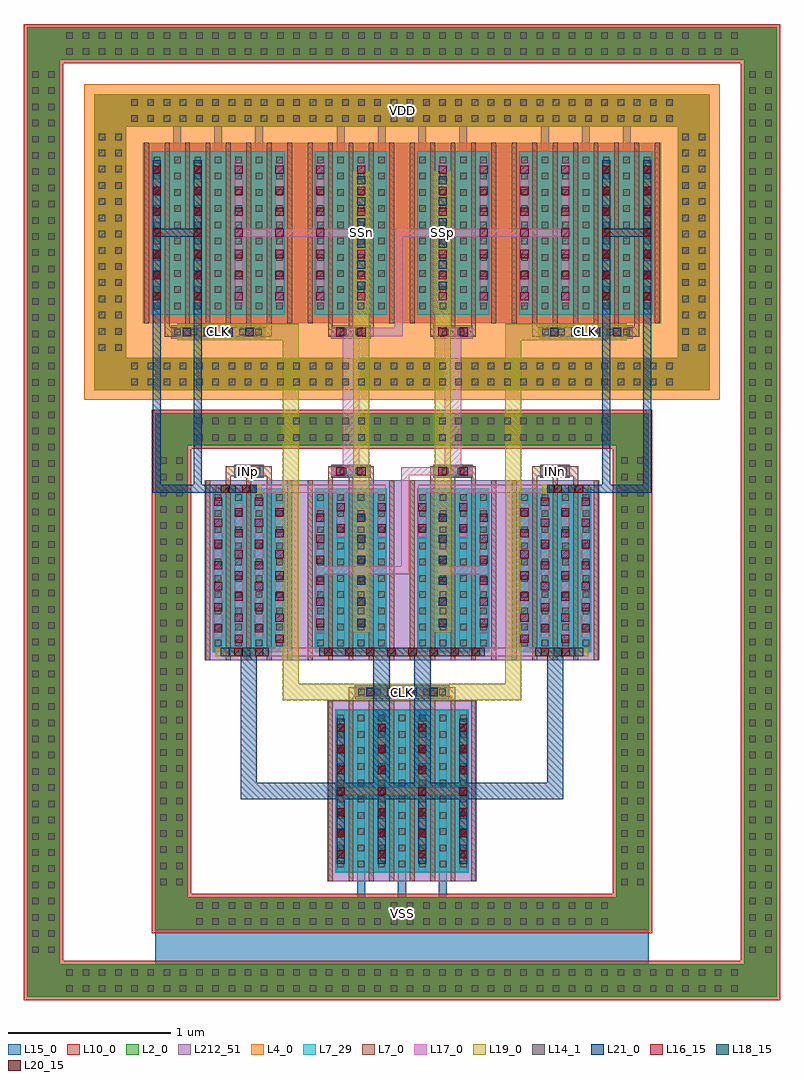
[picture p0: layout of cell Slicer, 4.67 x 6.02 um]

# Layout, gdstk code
import gdstk
lib = gdstk.Library(unit=1e-6, precision=1e-09)
def R(c, l, rs):  # rectangles x0, y0, x1, y1
    for r in rs: c.add(gdstk.rectangle(r[:2], r[2:], *l))
def A(c, l, x, y, w, h, nx, ny, dx, dy):  # array of equal rectangles
    R(c, l, [(x+i*dx, y+j*dy, x+i*dx+w, y+j*dy+h) for i in range(nx) for j in range(ny)])
L2_0 = (2, 0)
L4_0 = (4, 0)
L7_0 = (7, 0)
L7_29 = (7, 29)
L10_0 = (10, 0)
L14_1 = (14, 1)
L15_0 = (15, 0)
L16_15 = (16, 15)
L17_0 = (17, 0)
L18_15 = (18, 15)
L19_0 = (19, 0)
L20_15 = (20, 15)
L21_0 = (21, 0)
L212_51 = (212, 51)

viamet22met3onnmosinneri = lib.new_cell('ViaMet22Met3OnNMOSInnerInSlicer')
R(viamet22met3onnmosinneri, L17_0, [(-0.512,-0.025,0.512,0.025)])
A(viamet22met3onnmosinneri, L18_15, -0.48, -0.025, 0.05, 0.05, 8, 1, 0.13, 0)
R(viamet22met3onnmosinneri, L19_0, [(-0.512,-0.025,0.512,0.025)])

viamet22met3onnmosinputi = lib.new_cell('ViaMet22Met3OnNMOSInputInSlicer')
R(viamet22met3onnmosinputi, L17_0, [(-0.122,-0.025,0.122,0.025)])
R(viamet22met3onnmosinputi, L18_15, [(-0.09,-0.025,-0.04,0.025), (0.04,-0.025,0.09,0.025)])
R(viamet22met3onnmosinputi, L19_0, [(-0.122,-0.025,0.122,0.025)])

nmos1innmossetofslicer = lib.new_cell('NMOS1InNMOSSetofSlicer')
R(nmos1innmossetofslicer, L2_0, [(-0.217,-0.5,0.217,0.5)])
A(nmos1innmossetofslicer, L7_0, -0.267, -0.556, 0.03, 1.112, 5, 1, 0.126, 0)
R(nmos1innmossetofslicer, L7_29, [(-0.222,-0.505,0.222,0.505)])
A(nmos1innmossetofslicer, L14_1, -0.209, -0.47, 0.04, 0.04, 4, 10, 0.126, 0.1)
A(nmos1innmossetofslicer, L15_0, -0.214, -0.5, 0.05, 1, 4, 1, 0.126, 0)
R(nmos1innmossetofslicer, L212_51, [(-0.273,-0.556,0.273,0.556)])

nmos2innmossetofslicer = lib.new_cell('NMOS2InNMOSSetofSlicer')
R(nmos2innmossetofslicer, L2_0, [(-0.217,-0.5,0.217,0.5)])
A(nmos2innmossetofslicer, L7_0, -0.267, -0.556, 0.03, 1.112, 5, 1, 0.126, 0)
R(nmos2innmossetofslicer, L7_29, [(-0.222,-0.505,0.222,0.505)])
A(nmos2innmossetofslicer, L14_1, -0.209, -0.47, 0.04, 0.04, 4, 10, 0.126, 0.1)
A(nmos2innmossetofslicer, L15_0, -0.214, -0.5, 0.05, 1, 4, 1, 0.126, 0)
R(nmos2innmossetofslicer, L212_51, [(-0.273,-0.556,0.273,0.556)])

nmos3innmossetofslicer = lib.new_cell('NMOS3InNMOSSetofSlicer')
R(nmos3innmossetofslicer, L2_0, [(-0.217,-0.5,0.217,0.5)])
A(nmos3innmossetofslicer, L7_0, -0.267, -0.556, 0.03, 1.112, 5, 1, 0.126, 0)
R(nmos3innmossetofslicer, L7_29, [(-0.222,-0.505,0.222,0.505)])
A(nmos3innmossetofslicer, L14_1, -0.209, -0.47, 0.04, 0.04, 4, 10, 0.126, 0.1)
A(nmos3innmossetofslicer, L15_0, -0.214, -0.5, 0.05, 1, 4, 1, 0.126, 0)
R(nmos3innmossetofslicer, L212_51, [(-0.273,-0.556,0.273,0.556)])

nmos4innmossetofslicer = lib.new_cell('NMOS4InNMOSSetofSlicer')
R(nmos4innmossetofslicer, L2_0, [(-0.217,-0.5,0.217,0.5)])
A(nmos4innmossetofslicer, L7_0, -0.267, -0.556, 0.03, 1.112, 5, 1, 0.126, 0)
R(nmos4innmossetofslicer, L7_29, [(-0.222,-0.505,0.222,0.505)])
A(nmos4innmossetofslicer, L14_1, -0.209, -0.47, 0.04, 0.04, 4, 10, 0.126, 0.1)
A(nmos4innmossetofslicer, L15_0, -0.214, -0.5, 0.05, 1, 4, 1, 0.126, 0)
R(nmos4innmossetofslicer, L212_51, [(-0.273,-0.556,0.273,0.556)])

nmos5innmossetofslicer = lib.new_cell('NMOS5InNMOSSetofSlicer')
R(nmos5innmossetofslicer, L2_0, [(-0.406,-0.5,0.406,0.5)])
A(nmos5innmossetofslicer, L7_0, -0.456, -0.556, 0.03, 1.112, 8, 1, 0.126, 0)
R(nmos5innmossetofslicer, L7_29, [(-0.411,-0.505,0.411,0.505)])
A(nmos5innmossetofslicer, L14_1, -0.398, -0.47, 0.04, 0.04, 7, 10, 0.126, 0.1)
A(nmos5innmossetofslicer, L15_0, -0.403, -0.5, 0.05, 1, 7, 1, 0.126, 0)
R(nmos5innmossetofslicer, L212_51, [(-0.462,-0.556,0.462,0.556)])

viamet22met3onpmosoutput = lib.new_cell('ViaMet22Met3OnPMOSOutputIn5NMOSSetofSlicer')
R(viamet22met3onpmosoutput, L17_0, [(-0.025,-0.447,0.025,0.447)])
A(viamet22met3onpmosoutput, L18_15, -0.025, -0.415, 0.05, 0.05, 1, 7, 0, 0.13)
R(viamet22met3onpmosoutput, L19_0, [(-0.025,-0.447,0.025,0.447)])

viamet32met4onpmosoutput = lib.new_cell('ViaMet32Met4OnPMOSOutputIn5NMOSSetofSlicer')
R(viamet32met4onpmosoutput, L19_0, [(-0.025,-0.447,0.025,0.447)])
A(viamet32met4onpmosoutput, L20_15, -0.025, -0.415, 0.05, 0.05, 1, 7, 0, 0.13)
R(viamet32met4onpmosoutput, L21_0, [(-0.025,-0.447,0.025,0.447)])

additionalviamet12met2on = lib.new_cell('AdditionalViaMet12Met2OnPMOSOutputIn3NMOSSetofSlicer')
R(additionalviamet12met2on, L15_0, [(-0.025,-0.122,0.025,0.122)])
R(additionalviamet12met2on, L16_15, [(-0.025,-0.09,0.025,-0.04), (-0.025,0.04,0.025,0.09)])
R(additionalviamet12met2on, L17_0, [(-0.025,-0.122,0.025,0.122)])

viapoly2met1onnmosgate4i = lib.new_cell('ViaPoly2Met1OnNMOSGate4InNMOSSetofSlicer')
R(viapoly2met1onnmosgate4i, L7_0, [(-0.08,-0.03,0.08,0.03)])
R(viapoly2met1onnmosgate4i, L14_1, [(-0.07,-0.02,-0.03,0.02), (0.03,-0.02,0.07,0.02)])
R(viapoly2met1onnmosgate4i, L15_0, [(-0.091,-0.041,0.091,0.041)])

viapoly2met1onnmosgate5i = lib.new_cell('ViaPoly2Met1OnNMOSGate5InNMOSSetofSlicer')
R(viapoly2met1onnmosgate5i, L7_0, [(-0.28,-0.03,0.28,0.03)])
A(viapoly2met1onnmosgate5i, L14_1, -0.27, -0.02, 0.04, 0.04, 6, 1, 0.1, 0)
R(viapoly2met1onnmosgate5i, L15_0, [(-0.291,-0.041,0.291,0.041)])

viapoly2met1onnmosgate1i = lib.new_cell('ViaPoly2Met1OnNMOSGate1InNMOSSetofSlicer')
R(viapoly2met1onnmosgate1i, L7_0, [(-0.08,-0.03,0.08,0.03)])
R(viapoly2met1onnmosgate1i, L14_1, [(-0.07,-0.02,-0.03,0.02), (0.03,-0.02,0.07,0.02)])
R(viapoly2met1onnmosgate1i, L15_0, [(-0.091,-0.041,0.091,0.041)])

viapoly2met1onnmosgate2i = lib.new_cell('ViaPoly2Met1OnNMOSGate2InNMOSSetofSlicer')
R(viapoly2met1onnmosgate2i, L7_0, [(-0.08,-0.03,0.08,0.03)])
R(viapoly2met1onnmosgate2i, L14_1, [(-0.07,-0.02,-0.03,0.02), (0.03,-0.02,0.07,0.02)])
R(viapoly2met1onnmosgate2i, L15_0, [(-0.091,-0.041,0.091,0.041)])

viapoly2met1onnmosgate3i = lib.new_cell('ViaPoly2Met1OnNMOSGate3InNMOSSetofSlicer')
R(viapoly2met1onnmosgate3i, L7_0, [(-0.08,-0.03,0.08,0.03)])
R(viapoly2met1onnmosgate3i, L14_1, [(-0.07,-0.02,-0.03,0.02), (0.03,-0.02,0.07,0.02)])
R(viapoly2met1onnmosgate3i, L15_0, [(-0.091,-0.041,0.091,0.041)])

viamet12met2onpmosoutput = lib.new_cell('ViaMet12Met2OnPMOSOutputIn3NMOSSetofSlicer')
R(viamet12met2onpmosoutput, L15_0, [(-0.025,-0.382,0.025,0.382)])
A(viamet12met2onpmosoutput, L16_15, -0.025, -0.35, 0.05, 0.05, 1, 6, 0, 0.13)
R(viamet12met2onpmosoutput, L17_0, [(-0.025,-0.382,0.025,0.382)])

c_viamet12met2onpmosoutput = lib.new_cell('ViaMet12Met2OnPMOSOutputIn5NMOSSetofSlicer')
R(c_viamet12met2onpmosoutput, L15_0, [(-0.025,-0.447,0.025,0.447)])
A(c_viamet12met2onpmosoutput, L16_15, -0.025, -0.415, 0.05, 0.05, 1, 7, 0, 0.13)
R(c_viamet12met2onpmosoutput, L17_0, [(-0.025,-0.447,0.025,0.447)])

c_viamet12met2onpmosoutput_ = lib.new_cell('ViaMet12Met2OnPMOSOutputIn1NMOSSetofSlicer')
R(c_viamet12met2onpmosoutput_, L15_0, [(-0.025,-0.447,0.025,0.447)])
A(c_viamet12met2onpmosoutput_, L16_15, -0.025, -0.415, 0.05, 0.05, 1, 7, 0, 0.13)
R(c_viamet12met2onpmosoutput_, L17_0, [(-0.025,-0.447,0.025,0.447)])

nmossetinslicer = lib.new_cell('NMOSSETInSlicer')
A(nmossetinslicer, L14_1, -1.27, -2.188, 0.04, 0.04, 26, 2, 0.1, 0.1)
A(nmossetinslicer, L14_1, -1.492, -1.944, 0.04, 0.04, 1, 27, 0, 0.1)
A(nmossetinslicer, L14_1, -1.392, -1.944, 0.04, 0.04, 1, 27, 0, 0.1)
A(nmossetinslicer, L14_1, 1.352, -1.944, 0.04, 0.04, 1, 27, 0, 0.1)
A(nmossetinslicer, L14_1, 1.452, -1.944, 0.04, 0.04, 1, 27, 0, 0.1)
A(nmossetinslicer, L14_1, -1.27, 0.8, 0.04, 0.04, 26, 2, 0.1, 0.1)
R(nmossetinslicer, L212_51, [(-0.945,-0.556,0.945,0.556)])
nmossetinslicer.add(gdstk.FlexPath([(1.422,0.97),(1.422,-2.218)], 0.2, ends="flush", simple_path=True, layer=15, datatype=0))  # L15_0
nmossetinslicer.add(gdstk.FlexPath([(-1.422,0.97),(-1.422,-2.218)], 0.2, ends="flush", simple_path=True, layer=15, datatype=0))  # L15_0
nmossetinslicer.add(gdstk.FlexPath([(-1.522,-2.118),(1.522,-2.118)], 0.2, ends="flush", simple_path=True, layer=15, datatype=0))  # L15_0
nmossetinslicer.add(gdstk.FlexPath([(-1.522,0.87),(1.522,0.87)], 0.2, ends="flush", simple_path=True, layer=15, datatype=0))  # L15_0
nmossetinslicer.add(gdstk.FlexPath([(-1.543,0.87),(1.543,0.87)], 0.242, ends="flush", simple_path=True, layer=10, datatype=0))  # L10_0
nmossetinslicer.add(gdstk.FlexPath([(1.422,0.991),(1.422,-2.239)], 0.242, ends="flush", simple_path=True, layer=10, datatype=0))  # L10_0
nmossetinslicer.add(gdstk.FlexPath([(-0.378,-1.362),(0.378,-1.362)], 0.05, ends="flush", simple_path=True, layer=21, datatype=0))  # L21_0
nmossetinslicer.add(gdstk.FlexPath([(-1.522,0.87),(1.522,0.87)], 0.2, ends="flush", simple_path=True, layer=2, datatype=0))  # L2_0
nmossetinslicer.add(gdstk.FlexPath([(-1.522,-2.118),(1.522,-2.118)], 0.2, ends="flush", simple_path=True, layer=2, datatype=0))  # L2_0
nmossetinslicer.add(gdstk.FlexPath([(-1.422,0.97),(-1.422,-2.218)], 0.2, ends="flush", simple_path=True, layer=2, datatype=0))  # L2_0
nmossetinslicer.add(gdstk.FlexPath([(1.422,0.97),(1.422,-2.218)], 0.2, ends="flush", simple_path=True, layer=2, datatype=0))  # L2_0
nmossetinslicer.add(gdstk.FlexPath([(-0.378,-1.362),(0.378,-1.362)], 0.05, ends="flush", simple_path=True, layer=19, datatype=0))  # L19_0
nmossetinslicer.add(gdstk.FlexPath([(-1.422,0.991),(-1.422,-2.239)], 0.242, ends="flush", simple_path=True, layer=10, datatype=0))  # L10_0
nmossetinslicer.add(gdstk.FlexPath([(-0.378,0.325),(-0.378,0.504)], 0.05, ends="flush", simple_path=True, layer=17, datatype=0))  # L17_0
nmossetinslicer.add(gdstk.FlexPath([(0.378,0.325),(0.378,0.504)], 0.05, ends="flush", simple_path=True, layer=17, datatype=0))  # L17_0
nmossetinslicer.add(gdstk.FlexPath([(-0.126,0.325),(-0.126,0.504)], 0.05, ends="flush", simple_path=True, layer=17, datatype=0))  # L17_0
nmossetinslicer.add(gdstk.FlexPath([(0.126,0.325),(0.126,0.504)], 0.05, ends="flush", simple_path=True, layer=17, datatype=0))  # L17_0
nmossetinslicer.add(gdstk.FlexPath([(-0.378,-1.362),(0.378,-1.362)], 0.05, ends="flush", simple_path=True, layer=17, datatype=0))  # L17_0
nmossetinslicer.add(gdstk.FlexPath([(-1.159,0.504),(-0.101,0.504)], 0.05, ends="flush", simple_path=True, layer=17, datatype=0))  # L17_0
nmossetinslicer.add(gdstk.FlexPath([(1.159,0.504),(0.101,0.504)], 0.05, ends="flush", simple_path=True, layer=17, datatype=0))  # L17_0
nmossetinslicer.add(gdstk.FlexPath([(-1.033,-0.504),(1.033,-0.504)], 0.05, ends="flush", simple_path=True, layer=17, datatype=0))  # L17_0
nmossetinslicer.add(gdstk.FlexPath([(-0.504,0),(-0.252,0)], 0.05, ends="flush", simple_path=True, layer=17, datatype=0))  # L17_0
nmossetinslicer.add(gdstk.FlexPath([(0.252,0),(0.504,0)], 0.05, ends="flush", simple_path=True, layer=17, datatype=0))  # L17_0
nmossetinslicer.add(gdstk.FlexPath([(-1.543,-2.118),(1.543,-2.118)], 0.242, ends="flush", simple_path=True, layer=10, datatype=0))  # L10_0
nmossetinslicer.add(gdstk.FlexPath([(-0.252,-2.118),(-0.252,-1.862)], 0.05, ends="flush", simple_path=True, layer=15, datatype=0))  # L15_0
nmossetinslicer.add(gdstk.FlexPath([(0,-2.118),(0,-1.862)], 0.05, ends="flush", simple_path=True, layer=15, datatype=0))  # L15_0
nmossetinslicer.add(gdstk.FlexPath([(0.252,-2.118),(0.252,-1.862)], 0.05, ends="flush", simple_path=True, layer=15, datatype=0))  # L15_0
nmossetinslicer.add(gdstk.FlexPath([(-0.315,-1.362),(-0.315,-0.751)], 0.03, ends="flush", simple_path=True, layer=7, datatype=0))  # L7_0
nmossetinslicer.add(gdstk.FlexPath([(-0.189,-1.362),(-0.189,-0.751)], 0.03, ends="flush", simple_path=True, layer=7, datatype=0))  # L7_0
nmossetinslicer.add(gdstk.FlexPath([(-0.063,-1.362),(-0.063,-0.751)], 0.03, ends="flush", simple_path=True, layer=7, datatype=0))  # L7_0
nmossetinslicer.add(gdstk.FlexPath([(0.063,-1.362),(0.063,-0.751)], 0.03, ends="flush", simple_path=True, layer=7, datatype=0))  # L7_0
nmossetinslicer.add(gdstk.FlexPath([(0.189,-1.362),(0.189,-0.751)], 0.03, ends="flush", simple_path=True, layer=7, datatype=0))  # L7_0
nmossetinslicer.add(gdstk.FlexPath([(0.315,-1.362),(0.315,-0.751)], 0.03, ends="flush", simple_path=True, layer=7, datatype=0))  # L7_0
nmossetinslicer.add(gdstk.FlexPath([(0.189,0),(0.189,0.611)], 0.03, ends="flush", simple_path=True, layer=7, datatype=0))  # L7_0
nmossetinslicer.add(gdstk.FlexPath([(0.315,0),(0.315,0.611)], 0.03, ends="flush", simple_path=True, layer=7, datatype=0))  # L7_0
nmossetinslicer.add(gdstk.FlexPath([(0.441,0),(0.441,0.611)], 0.03, ends="flush", simple_path=True, layer=7, datatype=0))  # L7_0
nmossetinslicer.add(gdstk.FlexPath([(-1.071,0),(-1.071,0.611)], 0.03, ends="flush", simple_path=True, layer=7, datatype=0))  # L7_0
nmossetinslicer.add(gdstk.FlexPath([(-0.945,0),(-0.945,0.611)], 0.03, ends="flush", simple_path=True, layer=7, datatype=0))  # L7_0
nmossetinslicer.add(gdstk.FlexPath([(-0.819,0),(-0.819,0.611)], 0.03, ends="flush", simple_path=True, layer=7, datatype=0))  # L7_0
nmossetinslicer.add(gdstk.FlexPath([(-0.441,0),(-0.441,0.611)], 0.03, ends="flush", simple_path=True, layer=7, datatype=0))  # L7_0
nmossetinslicer.add(gdstk.FlexPath([(-0.315,0),(-0.315,0.611)], 0.03, ends="flush", simple_path=True, layer=7, datatype=0))  # L7_0
nmossetinslicer.add(gdstk.FlexPath([(-0.189,0),(-0.189,0.611)], 0.03, ends="flush", simple_path=True, layer=7, datatype=0))  # L7_0
nmossetinslicer.add(gdstk.FlexPath([(0.819,0),(0.819,0.611)], 0.03, ends="flush", simple_path=True, layer=7, datatype=0))  # L7_0
nmossetinslicer.add(gdstk.FlexPath([(0.945,0),(0.945,0.611)], 0.03, ends="flush", simple_path=True, layer=7, datatype=0))  # L7_0
nmossetinslicer.add(gdstk.FlexPath([(1.071,0),(1.071,0.611)], 0.03, ends="flush", simple_path=True, layer=7, datatype=0))  # L7_0
nmossetinslicer.add(gdstk.FlexPath([(0.456,0.611),(0.174,0.611)], 0.06, ends="flush", simple_path=True, layer=7, datatype=0))  # L7_0
nmossetinslicer.add(gdstk.FlexPath([(0.33,-0.751),(-0.33,-0.751)], 0.06, ends="flush", simple_path=True, layer=7, datatype=0))  # L7_0
nmossetinslicer.add(gdstk.FlexPath([(1.086,0.611),(0.804,0.611)], 0.06, ends="flush", simple_path=True, layer=7, datatype=0))  # L7_0
nmossetinslicer.add(gdstk.FlexPath([(-0.174,0.611),(-0.456,0.611)], 0.06, ends="flush", simple_path=True, layer=7, datatype=0))  # L7_0
nmossetinslicer.add(gdstk.FlexPath([(-0.804,0.611),(-1.086,0.611)], 0.06, ends="flush", simple_path=True, layer=7, datatype=0))  # L7_0
nmossetinslicer.add(gdstk.Reference(nmos1innmossetofslicer, (-0.945,0)))
nmossetinslicer.add(gdstk.Reference(nmos2innmossetofslicer, (0.945,0)))
nmossetinslicer.add(gdstk.Reference(nmos3innmossetofslicer, (-0.315,0)))
nmossetinslicer.add(gdstk.Reference(nmos4innmossetofslicer, (0.315,0)))
nmossetinslicer.add(gdstk.Reference(nmos5innmossetofslicer, (0,-1.362)))
nmossetinslicer.add(gdstk.Reference(viamet22met3onpmosoutput, (-0.378,-1.362)))
nmossetinslicer.add(gdstk.Reference(viamet22met3onpmosoutput, (-0.126,-1.362)))
nmossetinslicer.add(gdstk.Reference(viamet22met3onpmosoutput, (0.126,-1.362)))
nmossetinslicer.add(gdstk.Reference(viamet22met3onpmosoutput, (0.378,-1.362)))
nmossetinslicer.add(gdstk.Reference(viamet32met4onpmosoutput, (-0.378,-1.362)))
nmossetinslicer.add(gdstk.Reference(viamet32met4onpmosoutput, (-0.126,-1.362)))
nmossetinslicer.add(gdstk.Reference(viamet32met4onpmosoutput, (0.126,-1.362)))
nmossetinslicer.add(gdstk.Reference(viamet32met4onpmosoutput, (0.378,-1.362)))
nmossetinslicer.add(gdstk.Reference(additionalviamet12met2on, (-0.378,0.325)))
nmossetinslicer.add(gdstk.Reference(additionalviamet12met2on, (0.378,0.325)))
nmossetinslicer.add(gdstk.Reference(additionalviamet12met2on, (-0.126,0.325)))
nmossetinslicer.add(gdstk.Reference(additionalviamet12met2on, (0.126,0.325)))
nmossetinslicer.add(gdstk.Reference(viapoly2met1onnmosgate4i, (0.315,0.611)))
nmossetinslicer.add(gdstk.Reference(viapoly2met1onnmosgate5i, (0,-0.751)))
nmossetinslicer.add(gdstk.Reference(viapoly2met1onnmosgate1i, (-0.945,0.611)))
nmossetinslicer.add(gdstk.Reference(viapoly2met1onnmosgate2i, (0.945,0.611)))
nmossetinslicer.add(gdstk.Reference(viapoly2met1onnmosgate3i, (-0.315,0.611)))
nmossetinslicer.add(gdstk.Reference(viamet12met2onpmosoutput, (-0.504,0)))
nmossetinslicer.add(gdstk.Reference(viamet12met2onpmosoutput, (-0.252,0)))
nmossetinslicer.add(gdstk.Reference(viamet12met2onpmosoutput, (0.252,0)))
nmossetinslicer.add(gdstk.Reference(viamet12met2onpmosoutput, (0.504,0)))
nmossetinslicer.add(gdstk.Reference(c_viamet12met2onpmosoutput, (-0.378,-1.362)))
nmossetinslicer.add(gdstk.Reference(c_viamet12met2onpmosoutput, (-0.126,-1.362)))
nmossetinslicer.add(gdstk.Reference(c_viamet12met2onpmosoutput, (0.126,-1.362)))
nmossetinslicer.add(gdstk.Reference(c_viamet12met2onpmosoutput, (0.378,-1.362)))
nmossetinslicer.add(gdstk.Reference(c_viamet12met2onpmosoutput_, (-1.134,0.032)))
nmossetinslicer.add(gdstk.Reference(c_viamet12met2onpmosoutput_, (0.882,0.032)))
nmossetinslicer.add(gdstk.Reference(c_viamet12met2onpmosoutput_, (-0.882,0.032)))
nmossetinslicer.add(gdstk.Reference(c_viamet12met2onpmosoutput_, (1.134,0.032)))
nmossetinslicer.add(gdstk.Reference(c_viamet12met2onpmosoutput_, (-1.008,-0.032)))
nmossetinslicer.add(gdstk.Reference(c_viamet12met2onpmosoutput_, (0.756,-0.032)))
nmossetinslicer.add(gdstk.Reference(c_viamet12met2onpmosoutput_, (-0.756,-0.032)))
nmossetinslicer.add(gdstk.Reference(c_viamet12met2onpmosoutput_, (1.008,-0.032)))

viamet32met4onnmosinneri = lib.new_cell('ViaMet32Met4OnNMOSInnerInSlicer')
R(viamet32met4onnmosinneri, L19_0, [(-0.512,-0.025,0.512,0.025)])
A(viamet32met4onnmosinneri, L20_15, -0.48, -0.025, 0.05, 0.05, 8, 1, 0.13, 0)
R(viamet32met4onnmosinneri, L21_0, [(-0.512,-0.025,0.512,0.025)])

viapoly2met1onpmosgate1i = lib.new_cell('ViaPoly2Met1OnPMOSGate1InPMOSSetofSlicer')
R(viapoly2met1onpmosgate1i, L7_0, [(-0.28,-0.03,0.28,0.03)])
A(viapoly2met1onpmosgate1i, L14_1, -0.27, -0.02, 0.04, 0.04, 6, 1, 0.1, 0)
R(viapoly2met1onpmosgate1i, L15_0, [(-0.291,-0.041,0.291,0.041)])

viapoly2met1onpmosgate2i = lib.new_cell('ViaPoly2Met1OnPMOSGate2InPMOSSetofSlicer')
R(viapoly2met1onpmosgate2i, L7_0, [(-0.28,-0.03,0.28,0.03)])
A(viapoly2met1onpmosgate2i, L14_1, -0.27, -0.02, 0.04, 0.04, 6, 1, 0.1, 0)
R(viapoly2met1onpmosgate2i, L15_0, [(-0.291,-0.041,0.291,0.041)])

viapoly2met1onpmosgate3i = lib.new_cell('ViaPoly2Met1OnPMOSGate3InPMOSSetofSlicer')
R(viapoly2met1onpmosgate3i, L7_0, [(-0.08,-0.03,0.08,0.03)])
R(viapoly2met1onpmosgate3i, L14_1, [(-0.07,-0.02,-0.03,0.02), (0.03,-0.02,0.07,0.02)])
R(viapoly2met1onpmosgate3i, L15_0, [(-0.091,-0.041,0.091,0.041)])

viapoly2met1onpmosgate4i = lib.new_cell('ViaPoly2Met1OnPMOSGate4InPMOSSetofSlicer')
R(viapoly2met1onpmosgate4i, L7_0, [(-0.08,-0.03,0.08,0.03)])
R(viapoly2met1onpmosgate4i, L14_1, [(-0.07,-0.02,-0.03,0.02), (0.03,-0.02,0.07,0.02)])
R(viapoly2met1onpmosgate4i, L15_0, [(-0.091,-0.041,0.091,0.041)])

c_viamet32met4onpmosoutput = lib.new_cell('ViaMet32Met4OnPMOSOutputIn1PMOSSetofSlicer')
R(c_viamet32met4onpmosoutput, L19_0, [(-0.025,-0.447,0.025,0.447)])
A(c_viamet32met4onpmosoutput, L20_15, -0.025, -0.415, 0.05, 0.05, 1, 7, 0, 0.13)
R(c_viamet32met4onpmosoutput, L21_0, [(-0.025,-0.447,0.025,0.447)])

c_viamet12met2onpmosoutput__ = lib.new_cell('ViaMet12Met2OnPMOSOutputIn2PMOSSetofSlicer')
R(c_viamet12met2onpmosoutput__, L15_0, [(-0.025,-0.447,0.025,0.447)])
A(c_viamet12met2onpmosoutput__, L16_15, -0.025, -0.415, 0.05, 0.05, 1, 7, 0, 0.13)
R(c_viamet12met2onpmosoutput__, L17_0, [(-0.025,-0.447,0.025,0.447)])

c_viamet12met2onpmosoutput___ = lib.new_cell('ViaMet12Met2OnPMOSOutputIn1PMOSSetofSlicer')
R(c_viamet12met2onpmosoutput___, L15_0, [(-0.025,-0.447,0.025,0.447)])
A(c_viamet12met2onpmosoutput___, L16_15, -0.025, -0.415, 0.05, 0.05, 1, 7, 0, 0.13)
R(c_viamet12met2onpmosoutput___, L17_0, [(-0.025,-0.447,0.025,0.447)])

pmos4inpmossetofslicer = lib.new_cell('PMOS4InPMOSSetofSlicer')
R(pmos4inpmossetofslicer, L2_0, [(-0.217,-0.5,0.217,0.5)])
A(pmos4inpmossetofslicer, L7_0, -0.267, -0.556, 0.03, 1.112, 5, 1, 0.126, 0)
R(pmos4inpmossetofslicer, L7_29, [(-0.222,-0.505,0.222,0.505)])
R(pmos4inpmossetofslicer, L10_0, [(-0.277,-0.556,0.277,0.556)])
A(pmos4inpmossetofslicer, L14_1, -0.209, -0.47, 0.04, 0.04, 4, 10, 0.126, 0.1)
A(pmos4inpmossetofslicer, L15_0, -0.214, -0.5, 0.05, 1, 4, 1, 0.126, 0)
R(pmos4inpmossetofslicer, L212_51, [(-0.273,-0.556,0.273,0.556)])

c_viamet22met3onpmosoutput = lib.new_cell('ViaMet22Met3OnPMOSOutputIn1PMOSSetofSlicer')
R(c_viamet22met3onpmosoutput, L17_0, [(-0.025,-0.447,0.025,0.447)])
A(c_viamet22met3onpmosoutput, L18_15, -0.025, -0.415, 0.05, 0.05, 1, 7, 0, 0.13)
R(c_viamet22met3onpmosoutput, L19_0, [(-0.025,-0.447,0.025,0.447)])

pmos2inpmossetofslicer = lib.new_cell('PMOS2InPMOSSetofSlicer')
R(pmos2inpmossetofslicer, L2_0, [(-0.406,-0.5,0.406,0.5)])
A(pmos2inpmossetofslicer, L7_0, -0.456, -0.556, 0.03, 1.112, 8, 1, 0.126, 0)
R(pmos2inpmossetofslicer, L7_29, [(-0.411,-0.505,0.411,0.505)])
R(pmos2inpmossetofslicer, L10_0, [(-0.466,-0.556,0.466,0.556)])
A(pmos2inpmossetofslicer, L14_1, -0.398, -0.47, 0.04, 0.04, 7, 10, 0.126, 0.1)
A(pmos2inpmossetofslicer, L15_0, -0.403, -0.5, 0.05, 1, 7, 1, 0.126, 0)
R(pmos2inpmossetofslicer, L212_51, [(-0.462,-0.556,0.462,0.556)])

pmos3inpmossetofslicer = lib.new_cell('PMOS3InPMOSSetofSlicer')
R(pmos3inpmossetofslicer, L2_0, [(-0.217,-0.5,0.217,0.5)])
A(pmos3inpmossetofslicer, L7_0, -0.267, -0.556, 0.03, 1.112, 5, 1, 0.126, 0)
R(pmos3inpmossetofslicer, L7_29, [(-0.222,-0.505,0.222,0.505)])
R(pmos3inpmossetofslicer, L10_0, [(-0.277,-0.556,0.277,0.556)])
A(pmos3inpmossetofslicer, L14_1, -0.209, -0.47, 0.04, 0.04, 4, 10, 0.126, 0.1)
A(pmos3inpmossetofslicer, L15_0, -0.214, -0.5, 0.05, 1, 4, 1, 0.126, 0)
R(pmos3inpmossetofslicer, L212_51, [(-0.273,-0.556,0.273,0.556)])

pmos1inpmossetofslicer = lib.new_cell('PMOS1InPMOSSetofSlicer')
R(pmos1inpmossetofslicer, L2_0, [(-0.406,-0.5,0.406,0.5)])
A(pmos1inpmossetofslicer, L7_0, -0.456, -0.556, 0.03, 1.112, 8, 1, 0.126, 0)
R(pmos1inpmossetofslicer, L7_29, [(-0.411,-0.505,0.411,0.505)])
R(pmos1inpmossetofslicer, L10_0, [(-0.466,-0.556,0.466,0.556)])
A(pmos1inpmossetofslicer, L14_1, -0.398, -0.47, 0.04, 0.04, 7, 10, 0.126, 0.1)
A(pmos1inpmossetofslicer, L15_0, -0.403, -0.5, 0.05, 1, 7, 1, 0.126, 0)
R(pmos1inpmossetofslicer, L212_51, [(-0.462,-0.556,0.462,0.556)])

pmossetinslicer = lib.new_cell('PMOSSETInSlicer')
R(pmossetinslicer, L4_0, [(-1.96,-1.03,1.96,0.916)])
R(pmossetinslicer, L10_0, [(-1.134,-0.556,1.134,0.556)])
A(pmossetinslicer, L14_1, -1.67, -0.94, 0.04, 0.04, 34, 2, 0.1, 0.1)
A(pmossetinslicer, L14_1, -1.87, -0.727, 0.04, 0.04, 1, 14, 0, 0.1)
A(pmossetinslicer, L14_1, -1.77, -0.727, 0.04, 0.04, 1, 14, 0, 0.1)
A(pmossetinslicer, L14_1, 1.73, -0.727, 0.04, 0.04, 1, 14, 0, 0.1)
A(pmossetinslicer, L14_1, 1.83, -0.727, 0.04, 0.04, 1, 14, 0, 0.1)
A(pmossetinslicer, L14_1, -1.67, 0.686, 0.04, 0.04, 34, 2, 0.1, 0.1)
R(pmossetinslicer, L212_51, [(-1.134,-0.556,1.134,0.556)])
pmossetinslicer.add(gdstk.FlexPath([(1.8,0.856),(1.8,-0.97)], 0.2, ends="flush", simple_path=True, layer=15, datatype=0))  # L15_0
pmossetinslicer.add(gdstk.FlexPath([(-1.8,0.856),(-1.8,-0.97)], 0.2, ends="flush", simple_path=True, layer=15, datatype=0))  # L15_0
pmossetinslicer.add(gdstk.FlexPath([(-1.9,-0.87),(1.9,-0.87)], 0.2, ends="flush", simple_path=True, layer=15, datatype=0))  # L15_0
pmossetinslicer.add(gdstk.FlexPath([(-1.9,0.756),(1.9,0.756)], 0.2, ends="flush", simple_path=True, layer=15, datatype=0))  # L15_0
pmossetinslicer.add(gdstk.FlexPath([(-0.804,-0.611),(-1.464,-0.611)], 0.06, ends="flush", simple_path=True, layer=7, datatype=0))  # L7_0
pmossetinslicer.add(gdstk.FlexPath([(1.464,-0.611),(0.804,-0.611)], 0.06, ends="flush", simple_path=True, layer=7, datatype=0))  # L7_0
pmossetinslicer.add(gdstk.FlexPath([(-0.174,-0.611),(-0.456,-0.611)], 0.06, ends="flush", simple_path=True, layer=7, datatype=0))  # L7_0
pmossetinslicer.add(gdstk.FlexPath([(0.456,-0.611),(0.174,-0.611)], 0.06, ends="flush", simple_path=True, layer=7, datatype=0))  # L7_0
pmossetinslicer.add(gdstk.FlexPath([(-1.8,0.856),(-1.8,-0.97)], 0.2, ends="flush", simple_path=True, layer=2, datatype=0))  # L2_0
pmossetinslicer.add(gdstk.FlexPath([(1.8,0.856),(1.8,-0.97)], 0.2, ends="flush", simple_path=True, layer=2, datatype=0))  # L2_0
pmossetinslicer.add(gdstk.FlexPath([(-1.386,0.756),(-1.386,0.5)], 0.05, ends="flush", simple_path=True, layer=15, datatype=0))  # L15_0
pmossetinslicer.add(gdstk.FlexPath([(0.882,0.756),(0.882,0.5)], 0.05, ends="flush", simple_path=True, layer=15, datatype=0))  # L15_0
pmossetinslicer.add(gdstk.FlexPath([(-1.134,0.756),(-1.134,0.5)], 0.05, ends="flush", simple_path=True, layer=15, datatype=0))  # L15_0
pmossetinslicer.add(gdstk.FlexPath([(1.134,0.756),(1.134,0.5)], 0.05, ends="flush", simple_path=True, layer=15, datatype=0))  # L15_0
pmossetinslicer.add(gdstk.FlexPath([(-0.882,0.756),(-0.882,0.5)], 0.05, ends="flush", simple_path=True, layer=15, datatype=0))  # L15_0
pmossetinslicer.add(gdstk.FlexPath([(1.386,0.756),(1.386,0.5)], 0.05, ends="flush", simple_path=True, layer=15, datatype=0))  # L15_0
pmossetinslicer.add(gdstk.FlexPath([(-0.378,0.756),(-0.378,0.5)], 0.05, ends="flush", simple_path=True, layer=15, datatype=0))  # L15_0
pmossetinslicer.add(gdstk.FlexPath([(0.126,0.756),(0.126,0.5)], 0.05, ends="flush", simple_path=True, layer=15, datatype=0))  # L15_0
pmossetinslicer.add(gdstk.FlexPath([(-0.126,0.756),(-0.126,0.5)], 0.05, ends="flush", simple_path=True, layer=15, datatype=0))  # L15_0
pmossetinslicer.add(gdstk.FlexPath([(0.378,0.756),(0.378,0.5)], 0.05, ends="flush", simple_path=True, layer=15, datatype=0))  # L15_0
pmossetinslicer.add(gdstk.FlexPath([(-0.441,0),(-0.441,-0.611)], 0.03, ends="flush", simple_path=True, layer=7, datatype=0))  # L7_0
pmossetinslicer.add(gdstk.FlexPath([(-0.315,0),(-0.315,-0.611)], 0.03, ends="flush", simple_path=True, layer=7, datatype=0))  # L7_0
pmossetinslicer.add(gdstk.FlexPath([(-0.189,0),(-0.189,-0.611)], 0.03, ends="flush", simple_path=True, layer=7, datatype=0))  # L7_0
pmossetinslicer.add(gdstk.FlexPath([(0.819,0),(0.819,-0.611)], 0.03, ends="flush", simple_path=True, layer=7, datatype=0))  # L7_0
pmossetinslicer.add(gdstk.FlexPath([(0.945,0),(0.945,-0.611)], 0.03, ends="flush", simple_path=True, layer=7, datatype=0))  # L7_0
pmossetinslicer.add(gdstk.FlexPath([(1.071,0),(1.071,-0.611)], 0.03, ends="flush", simple_path=True, layer=7, datatype=0))  # L7_0
pmossetinslicer.add(gdstk.FlexPath([(1.197,0),(1.197,-0.611)], 0.03, ends="flush", simple_path=True, layer=7, datatype=0))  # L7_0
pmossetinslicer.add(gdstk.FlexPath([(1.323,0),(1.323,-0.611)], 0.03, ends="flush", simple_path=True, layer=7, datatype=0))  # L7_0
pmossetinslicer.add(gdstk.FlexPath([(1.449,0),(1.449,-0.611)], 0.03, ends="flush", simple_path=True, layer=7, datatype=0))  # L7_0
pmossetinslicer.add(gdstk.FlexPath([(-1.449,0),(-1.449,-0.611)], 0.03, ends="flush", simple_path=True, layer=7, datatype=0))  # L7_0
pmossetinslicer.add(gdstk.FlexPath([(-1.323,0),(-1.323,-0.611)], 0.03, ends="flush", simple_path=True, layer=7, datatype=0))  # L7_0
pmossetinslicer.add(gdstk.FlexPath([(-1.197,0),(-1.197,-0.611)], 0.03, ends="flush", simple_path=True, layer=7, datatype=0))  # L7_0
pmossetinslicer.add(gdstk.FlexPath([(-1.071,0),(-1.071,-0.611)], 0.03, ends="flush", simple_path=True, layer=7, datatype=0))  # L7_0
pmossetinslicer.add(gdstk.FlexPath([(-0.945,0),(-0.945,-0.611)], 0.03, ends="flush", simple_path=True, layer=7, datatype=0))  # L7_0
pmossetinslicer.add(gdstk.FlexPath([(-0.819,0),(-0.819,-0.611)], 0.03, ends="flush", simple_path=True, layer=7, datatype=0))  # L7_0
pmossetinslicer.add(gdstk.FlexPath([(0.189,0),(0.189,-0.611)], 0.03, ends="flush", simple_path=True, layer=7, datatype=0))  # L7_0
pmossetinslicer.add(gdstk.FlexPath([(0.315,0),(0.315,-0.611)], 0.03, ends="flush", simple_path=True, layer=7, datatype=0))  # L7_0
pmossetinslicer.add(gdstk.FlexPath([(0.441,0),(0.441,-0.611)], 0.03, ends="flush", simple_path=True, layer=7, datatype=0))  # L7_0
pmossetinslicer.add(gdstk.FlexPath([(-1.9,0.756),(1.9,0.756)], 0.2, ends="flush", simple_path=True, layer=2, datatype=0))  # L2_0
pmossetinslicer.add(gdstk.FlexPath([(-1.9,-0.87),(1.9,-0.87)], 0.2, ends="flush", simple_path=True, layer=2, datatype=0))  # L2_0
pmossetinslicer.add(gdstk.Reference(viapoly2met1onpmosgate1i, (-1.134,-0.611)))
pmossetinslicer.add(gdstk.Reference(viapoly2met1onpmosgate2i, (1.134,-0.611)))
pmossetinslicer.add(gdstk.Reference(viapoly2met1onpmosgate3i, (-0.315,-0.611)))
pmossetinslicer.add(gdstk.Reference(viapoly2met1onpmosgate4i, (0.315,-0.611)))
pmossetinslicer.add(gdstk.Reference(c_viamet32met4onpmosoutput, (-1.512,0)))
pmossetinslicer.add(gdstk.Reference(c_viamet32met4onpmosoutput, (-1.26,0)))
pmossetinslicer.add(gdstk.Reference(c_viamet32met4onpmosoutput, (1.512,0)))
pmossetinslicer.add(gdstk.Reference(c_viamet32met4onpmosoutput, (1.26,0)))
pmossetinslicer.add(gdstk.Reference(c_viamet12met2onpmosoutput__, (-0.504,0)))
pmossetinslicer.add(gdstk.Reference(c_viamet12met2onpmosoutput__, (-0.252,0)))
pmossetinslicer.add(gdstk.Reference(c_viamet12met2onpmosoutput__, (0.252,0)))
pmossetinslicer.add(gdstk.Reference(c_viamet12met2onpmosoutput__, (0.504,0)))
pmossetinslicer.add(gdstk.Reference(c_viamet12met2onpmosoutput___, (-1.512,0)))
pmossetinslicer.add(gdstk.Reference(c_viamet12met2onpmosoutput___, (-1.26,0)))
pmossetinslicer.add(gdstk.Reference(c_viamet12met2onpmosoutput___, (-1.008,0)))
pmossetinslicer.add(gdstk.Reference(c_viamet12met2onpmosoutput___, (-0.756,0)))
pmossetinslicer.add(gdstk.Reference(c_viamet12met2onpmosoutput___, (0.756,0)))
pmossetinslicer.add(gdstk.Reference(c_viamet12met2onpmosoutput___, (1.008,0)))
pmossetinslicer.add(gdstk.Reference(c_viamet12met2onpmosoutput___, (1.26,0)))
pmossetinslicer.add(gdstk.Reference(c_viamet12met2onpmosoutput___, (1.512,0)))
pmossetinslicer.add(gdstk.Reference(pmos4inpmossetofslicer, (0.315,0)))
pmossetinslicer.add(gdstk.Reference(c_viamet22met3onpmosoutput, (-1.512,0)))
pmossetinslicer.add(gdstk.Reference(c_viamet22met3onpmosoutput, (-1.26,0)))
pmossetinslicer.add(gdstk.Reference(c_viamet22met3onpmosoutput, (1.512,0)))
pmossetinslicer.add(gdstk.Reference(c_viamet22met3onpmosoutput, (1.26,0)))
pmossetinslicer.add(gdstk.Reference(pmos2inpmossetofslicer, (1.134,0)))
pmossetinslicer.add(gdstk.Reference(pmos3inpmossetofslicer, (-0.315,0)))
pmossetinslicer.add(gdstk.Reference(pmos1inpmossetofslicer, (-1.134,0)))

viamet22met3onnmosoutput = lib.new_cell('ViaMet22Met3OnNMOSOutputInSlicer')
R(viamet22met3onnmosoutput, L17_0, [(-0.025,-0.382,0.025,0.382)])
A(viamet22met3onnmosoutput, L18_15, -0.025, -0.35, 0.05, 0.05, 1, 6, 0, 0.13)
R(viamet22met3onnmosoutput, L19_0, [(-0.025,-0.382,0.025,0.382)])

viamet12met2oninnernmosg = lib.new_cell('ViaMet12Met2OnInnerNMOSGateIn1Slicer')
R(viamet12met2oninnernmosg, L15_0, [(-0.122,-0.025,0.122,0.025)])
R(viamet12met2oninnernmosg, L16_15, [(-0.09,-0.025,-0.04,0.025), (0.04,-0.025,0.09,0.025)])
R(viamet12met2oninnernmosg, L17_0, [(-0.122,-0.025,0.122,0.025)])

viamet12met2onouternmosg = lib.new_cell('ViaMet12Met2OnOuterNMOSGateIn1Slicer')
R(viamet12met2onouternmosg, L15_0, [(-0.252,-0.025,0.252,0.025)])
A(viamet12met2onouternmosg, L16_15, -0.22, -0.025, 0.05, 0.05, 4, 1, 0.13, 0)
R(viamet12met2onouternmosg, L17_0, [(-0.252,-0.025,0.252,0.025)])

lowerviamet32met4onnmosi = lib.new_cell('LowerViaMet32Met4OnNMOSInputInSlicer')
R(lowerviamet32met4onnmosi, L19_0, [(-0.122,-0.025,0.122,0.025)])
R(lowerviamet32met4onnmosi, L20_15, [(-0.09,-0.025,-0.04,0.025), (0.04,-0.025,0.09,0.025)])
R(lowerviamet32met4onnmosi, L21_0, [(-0.122,-0.025,0.122,0.025)])

lowerviamet22met3onnmosi = lib.new_cell('LowerViaMet22Met3OnNMOSInputInSlicer')
R(lowerviamet22met3onnmosi, L17_0, [(-0.122,-0.025,0.122,0.025)])
R(lowerviamet22met3onnmosi, L18_15, [(-0.09,-0.025,-0.04,0.025), (0.04,-0.025,0.09,0.025)])
R(lowerviamet22met3onnmosi, L19_0, [(-0.122,-0.025,0.122,0.025)])

viamet22met3onnmosclkinp = lib.new_cell('ViaMet22Met3OnNMOSCLKInputInSlicer')
R(viamet22met3onnmosclkinp, L17_0, [(-0.252,-0.025,0.252,0.025)])
A(viamet22met3onnmosclkinp, L18_15, -0.22, -0.025, 0.05, 0.05, 4, 1, 0.13, 0)
R(viamet22met3onnmosclkinp, L19_0, [(-0.252,-0.025,0.252,0.025)])

viamet22met3onpmosclkinp = lib.new_cell('ViaMet22Met3OnPMOSCLKInputInSlicer')
R(viamet22met3onpmosclkinp, L17_0, [(-0.252,-0.025,0.252,0.025)])
A(viamet22met3onpmosclkinp, L18_15, -0.22, -0.025, 0.05, 0.05, 4, 1, 0.13, 0)
R(viamet22met3onpmosclkinp, L19_0, [(-0.252,-0.025,0.252,0.025)])

viamet32met4onnmosinputi = lib.new_cell('ViaMet32Met4OnNMOSInputInSlicer')
R(viamet32met4onnmosinputi, L19_0, [(-0.122,-0.025,0.122,0.025)])
R(viamet32met4onnmosinputi, L20_15, [(-0.09,-0.025,-0.04,0.025), (0.04,-0.025,0.09,0.025)])
R(viamet32met4onnmosinputi, L21_0, [(-0.122,-0.025,0.122,0.025)])

viamet12met2onouterpmosg = lib.new_cell('ViaMet12Met2OnOuterPMOSGateIn1Slicer')
R(viamet12met2onouterpmosg, L15_0, [(-0.252,-0.025,0.252,0.025)])
A(viamet12met2onouterpmosg, L16_15, -0.22, -0.025, 0.05, 0.05, 4, 1, 0.13, 0)
R(viamet12met2onouterpmosg, L17_0, [(-0.252,-0.025,0.252,0.025)])

viamet12met2oninnerpmosg = lib.new_cell('ViaMet12Met2OnInnerPMOSGateIn1Slicer')
R(viamet12met2oninnerpmosg, L15_0, [(-0.122,-0.025,0.122,0.025)])
R(viamet12met2oninnerpmosg, L16_15, [(-0.09,-0.025,-0.04,0.025), (0.04,-0.025,0.09,0.025)])
R(viamet12met2oninnerpmosg, L17_0, [(-0.122,-0.025,0.122,0.025)])

slicer = lib.new_cell('Slicer')
R(slicer, L2_0, [(-2.312,-3.585,2.312,-3.385), (-2.312,-3.585,-2.112,2.393), (2.112,-3.585,2.312,2.393), (-2.312,2.194,2.312,2.394)])
R(slicer, L10_0, [(-2.333,-3.606,2.333,-3.364), (-2.333,-3.606,-2.091,2.414), (2.091,-3.606,2.333,2.414), (-2.333,2.173,2.333,2.415)])
A(slicer, L14_1, -2.07, -3.555, 0.04, 0.04, 42, 2, 0.1, 0.1)
A(slicer, L14_1, -2.282, -3.316, 0.04, 0.04, 1, 55, 0, 0.1)
A(slicer, L14_1, -2.182, -3.316, 0.04, 0.04, 1, 55, 0, 0.1)
A(slicer, L14_1, 2.142, -3.316, 0.04, 0.04, 1, 55, 0, 0.1)
A(slicer, L14_1, 2.242, -3.316, 0.04, 0.04, 1, 55, 0, 0.1)
A(slicer, L14_1, -2.07, 2.224, 0.04, 0.04, 42, 2, 0.1, 0.1)
R(slicer, L15_0, [(-2.312,-3.585,-2.112,2.393), (-2.312,-3.585,2.312,-3.385), (2.112,-3.585,2.312,2.393), (-1.522,-3.485,1.522,-3.073), (-0.291,-1.747,0.291,-1.665), (-0.437,-0.385,-0.193,-0.303), (0.193,-0.385,0.437,-0.303), (-1.425,0.474,-0.843,0.556), (-0.437,0.474,-0.193,0.556), (0.193,0.474,0.437,0.556), (0.843,0.474,1.425,0.556), (-2.312,2.194,2.312,2.394)])
slicer.add(gdstk.FlexPath([(-1.008,1.126),(-0.252,1.126)], 0.05, ends="flush", simple_path=True, layer=17, datatype=0))  # L17_0
slicer.add(gdstk.FlexPath([(1.008,1.126),(0.252,1.126)], 0.05, ends="flush", simple_path=True, layer=17, datatype=0))  # L17_0
slicer.add(gdstk.FlexPath([(-1.512,1.126),(-1.26,1.126)], 0.05, ends="flush", simple_path=True, layer=17, datatype=0))  # L17_0
slicer.add(gdstk.FlexPath([(1.512,1.126),(1.26,1.126)], 0.05, ends="flush", simple_path=True, layer=17, datatype=0))  # L17_0
slicer.add(gdstk.FlexPath([(-0.315,0.515),(-0.02,0.515),(-0.02,1.126),(0.252,1.126)], 0.05, ends="flush", simple_path=True, layer=17, datatype=0))  # L17_0
slicer.add(gdstk.FlexPath([(-0.252,-0.955),(0.02,-0.955),(0.02,-0.344),(0.315,-0.344)], 0.05, ends="flush", simple_path=True, layer=17, datatype=0))  # L17_0
slicer.add(gdstk.FlexPath([(-1.512,1.126),(-1.512,-0.451),(-1.027,-0.451)], 0.05, ends="flush", simple_path=True, layer=21, datatype=0))  # L21_0
slicer.add(gdstk.FlexPath([(1.512,1.126),(1.512,-0.451),(1.027,-0.451)], 0.05, ends="flush", simple_path=True, layer=21, datatype=0))  # L21_0
slicer.add(gdstk.FlexPath([(-1.26,1.126),(-1.26,-0.451),(-1.027,-0.451)], 0.05, ends="flush", simple_path=True, layer=21, datatype=0))  # L21_0
slicer.add(gdstk.FlexPath([(1.26,1.126),(1.26,-0.451),(1.027,-0.451)], 0.05, ends="flush", simple_path=True, layer=21, datatype=0))  # L21_0
slicer.add(gdstk.FlexPath([(-0.252,1.508),(-0.252,0),(-0.252,-1.337)], 0.1, ends="flush", simple_path=True, layer=19, datatype=0))  # L19_0
slicer.add(gdstk.FlexPath([(0.252,1.508),(0.252,0),(0.252,-1.337)], 0.1, ends="flush", simple_path=True, layer=19, datatype=0))  # L19_0
slicer.add(gdstk.FlexPath([(-1.512,1.126),(-1.26,1.126)], 0.05, ends="flush", simple_path=True, layer=21, datatype=0))  # L21_0
slicer.add(gdstk.FlexPath([(1.512,1.126),(1.26,1.126)], 0.05, ends="flush", simple_path=True, layer=21, datatype=0))  # L21_0
slicer.add(gdstk.FlexPath([(-0.945,-1.459),(-0.945,-2.317),(0,-2.317)], 0.1, ends="flush", simple_path=True, layer=21, datatype=0))  # L21_0
slicer.add(gdstk.FlexPath([(0.945,-1.459),(0.945,-2.317),(0,-2.317)], 0.1, ends="flush", simple_path=True, layer=21, datatype=0))  # L21_0
slicer.add(gdstk.FlexPath([(-0.126,-1.459),(-0.126,-2.317)], 0.1, ends="flush", simple_path=True, layer=21, datatype=0))  # L21_0
slicer.add(gdstk.FlexPath([(0.126,-1.459),(0.126,-2.317)], 0.1, ends="flush", simple_path=True, layer=21, datatype=0))  # L21_0
slicer.add(gdstk.FlexPath([(-1.386,0.515),(-0.686,0.515),(-0.686,-1.756)], 0.1, ends="flush", simple_path=True, layer=19, datatype=0))  # L19_0
slicer.add(gdstk.FlexPath([(1.386,0.515),(0.686,0.515),(0.686,-1.756)], 0.1, ends="flush", simple_path=True, layer=19, datatype=0))  # L19_0
slicer.add(gdstk.FlexPath([(-0.718,-1.706),(0.718,-1.706)], 0.1, ends="flush", simple_path=True, layer=19, datatype=0))  # L19_0
slicer.add(gdstk.FlexPath([(-1.512,1.126),(-1.26,1.126)], 0.05, ends="flush", simple_path=True, layer=19, datatype=0))  # L19_0
slicer.add(gdstk.FlexPath([(1.512,1.126),(1.26,1.126)], 0.05, ends="flush", simple_path=True, layer=19, datatype=0))  # L19_0
slicer.add(gdstk.FlexPath([(-0.315,0.515),(-0.315,-0.344)], 0.1, ends="flush", simple_path=True, layer=17, datatype=0))  # L17_0
slicer.add(gdstk.FlexPath([(0.315,0.515),(0.315,-0.344)], 0.1, ends="flush", simple_path=True, layer=17, datatype=0))  # L17_0
slicer.add(gdstk.Reference(viamet22met3onnmosinneri, (0,-1.459)))
slicer.add(gdstk.Reference(viamet22met3onnmosinputi, (-0.986,-0.451)))
slicer.add(gdstk.Reference(viamet22met3onnmosinputi, (0.986,-0.451)))
slicer.add(gdstk.Reference(nmossetinslicer, (0,-0.955)))
slicer.add(gdstk.Reference(viamet32met4onnmosinneri, (0,-1.459)))
slicer.add(gdstk.Reference(pmossetinslicer, (0,1.126)))
slicer.add(gdstk.Reference(viamet22met3onnmosoutput, (-0.252,1.126)))
slicer.add(gdstk.Reference(viamet22met3onnmosoutput, (-0.252,-0.955)))
slicer.add(gdstk.Reference(viamet22met3onnmosoutput, (0.252,1.126)))
slicer.add(gdstk.Reference(viamet22met3onnmosoutput, (0.252,-0.955)))
slicer.add(gdstk.Reference(viamet12met2oninnernmosg, (-0.315,-0.344)))
slicer.add(gdstk.Reference(viamet12met2oninnernmosg, (0.315,-0.344)))
slicer.add(gdstk.Reference(viamet12met2onouternmosg, (0,-1.706)))
slicer.add(gdstk.Reference(lowerviamet32met4onnmosi, (-0.945,-1.459)))
slicer.add(gdstk.Reference(lowerviamet32met4onnmosi, (0.945,-1.459)))
slicer.add(gdstk.Reference(lowerviamet22met3onnmosi, (-1.027,-1.459)))
slicer.add(gdstk.Reference(lowerviamet22met3onnmosi, (1.027,-1.459)))
slicer.add(gdstk.Reference(viamet22met3onnmosclkinp, (0,-1.706)))
slicer.add(gdstk.Reference(viamet22met3onpmosclkinp, (-1.134,0.515)))
slicer.add(gdstk.Reference(viamet22met3onpmosclkinp, (1.134,0.515)))
slicer.add(gdstk.Reference(viamet32met4onnmosinputi, (-1.027,-0.451)))
slicer.add(gdstk.Reference(viamet32met4onnmosinputi, (1.027,-0.451)))
slicer.add(gdstk.Reference(viamet12met2onouterpmosg, (-1.134,0.515)))
slicer.add(gdstk.Reference(viamet12met2onouterpmosg, (1.134,0.515)))
slicer.add(gdstk.Reference(viamet12met2oninnerpmosg, (-0.315,0.515)))
slicer.add(gdstk.Reference(viamet12met2oninnerpmosg, (0.315,0.515)))
slicer.add(gdstk.Label('INn', (0.945,-0.344), layer=15, texttype=20))
slicer.add(gdstk.Label('VSS', (0,-3.073), layer=15, texttype=20))
slicer.add(gdstk.Label('SSp', (0.252,1.126), layer=15, texttype=20))
slicer.add(gdstk.Label('SSn', (-0.252,1.126), layer=15, texttype=20))
slicer.add(gdstk.Label('VDD', (0,1.882), layer=15, texttype=20))
slicer.add(gdstk.Label('INp', (-0.945,-0.344), layer=15, texttype=20))
slicer.add(gdstk.Label('CLK', (0,-1.706), layer=15, texttype=20))
slicer.add(gdstk.Label('CLK', (-1.134,0.515), layer=15, texttype=20))
slicer.add(gdstk.Label('CLK', (1.134,0.515), layer=15, texttype=20))

lib.write_gds('Slicer.gds')
